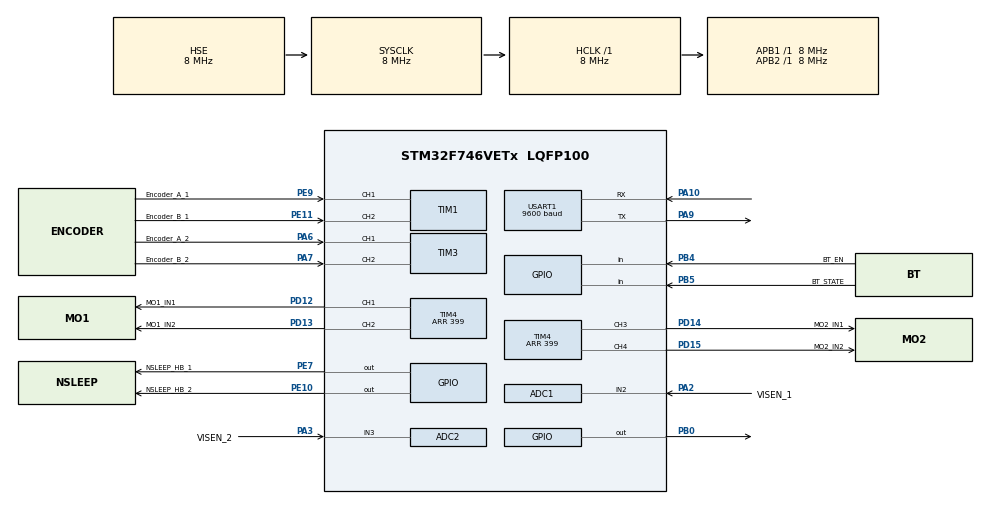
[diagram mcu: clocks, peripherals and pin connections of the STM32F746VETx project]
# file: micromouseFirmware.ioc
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ADC1.Channel-1\#ChannelRegularConversion=ADC_CHANNEL_2
ADC1.NbrOfConversionFlag=1
ADC1.Rank-1\#ChannelRegularConversion=1
ADC1.SamplingTime-1\#ChannelRegularConversion=ADC_SAMPLETIME_3CYCLES
ADC1.master=1
ADC2.Channel-0\#ChannelRegularConversion=ADC_CHANNEL_3
ADC2.NbrOfConversionFlag=1
ADC2.Rank-0\#ChannelRegularConversion=1
ADC2.SamplingTime-0\#ChannelRegularConversion=ADC_SAMPLETIME_3CYCLES
CORTEX_M7.default_mode_Activation=1
Mcu.Family=STM32F7
Mcu.Name=STM32F746VETx
Mcu.Package=LQFP100
NVIC.PriorityGroup=NVIC_PRIORITYGROUP_4
PA10.Mode=Asynchronous
PA10.Signal=USART1_RX
PA13.Mode=Serial_Wire
PA13.Signal=SYS_JTMS-SWDIO
PA14.Mode=Serial_Wire
PA14.Signal=SYS_JTCK-SWCLK
PA2.GPIO_Label=VISEN_1
PA2.Signal=ADCx_IN2
PA3.GPIO_Label=VISEN_2
PA3.Signal=ADCx_IN3
PA6.GPIO_Label=Encoder_A_2
PA6.Signal=S_TIM3_CH1
PA7.GPIO_Label=Encoder_B_2
PA7.Signal=S_TIM3_CH2
PA9.Mode=Asynchronous
PA9.Signal=USART1_TX
PB0.Signal=GPIO_Output
PB4.GPIO_Label=BT_EN
PB4.Signal=GPIO_Input
PB5.GPIO_Label=BT_STATE
PB5.Signal=GPIO_Input
PC14/OSC32_IN.Mode=LSE-External-Oscillator
PC14/OSC32_IN.Signal=RCC_OSC32_IN
PC15/OSC32_OUT.Mode=LSE-External-Oscillator
PC15/OSC32_OUT.Signal=RCC_OSC32_OUT
PD12.GPIO_Label=MO1_IN1
PD12.Signal=S_TIM4_CH1
PD13.GPIO_Label=MO1_IN2
PD13.Signal=S_TIM4_CH2
PD14.GPIO_Label=MO2_IN1
PD14.Signal=S_TIM4_CH3
PD15.GPIO_Label=MO2_IN2
PD15.Signal=S_TIM4_CH4
PE10.GPIO_Label=NSLEEP_HB_2
PE10.Signal=GPIO_Output
PE11.GPIO_Label=Encoder_B_1
PE11.Signal=S_TIM1_CH2
PE7.GPIO_Label=NSLEEP_HB_1
PE7.Signal=GPIO_Output
PE9.GPIO_Label=Encoder_A_1
PE9.Signal=S_TIM1_CH1
PH0/OSC_IN.Mode=HSE-External-Oscillator
PH0/OSC_IN.Signal=RCC_OSC_IN
PH1/OSC_OUT.Mode=HSE-External-Oscillator
PH1/OSC_OUT.Signal=RCC_OSC_OUT
ProjectManager.HeapSize=0x200
ProjectManager.StackSize=0x400
ProjectManager.TargetToolchain=STM32CubeIDE
RCC.AHBFreq_Value=8000000
RCC.APB1Freq_Value=8000000
RCC.APB1TimFreq_Value=8000000
RCC.APB2Freq_Value=8000000
RCC.APB2TimFreq_Value=8000000
RCC.CSICalibrationValue=32
RCC.CortexFreq_Value=8000000
RCC.DATA_CACHE_ENABLE=1
RCC.HCLKFreq_Value=8000000
RCC.HSE_VALUE=8000000
RCC.HSI_VALUE=16000000
RCC.INSTRUCTION_CACHE_ENABLE=1
RCC.LSE_Drive_CapabilityArg=RCC_LSEDRIVE_LOW
RCC.MSIAutoCalibration=ENABLED
RCC.MSICalibrationValue=0
RCC.PLL1_VCI_Range=RCC_PLL1VCIRANGE_3
RCC.PLL1_VCO_SEL=RCC_PLL1VCOWIDE
RCC.PLL2FRACN=0
RCC.PLL2_VCI_Range=RCC_PLL2VCIRANGE_3
RCC.PLL2_VCO_SEL=RCC_PLL2VCOWIDE
RCC.PLL3FRACN=0
RCC.PLL3_VCI_Range=RCC_PLL3VCIRANGE_3
RCC.PLL3_VCO_SEL=RCC_PLL3VCOWIDE
RCC.PLLFRACN=0
RCC.PLLSourceVirtual=RCC_PLLSOURCE_HSE
RCC.PREFETCH_ENABLE=0
RCC.ProductRev=revV
RCC.SYSCLKFreq_VALUE=8000000
RCC.SYSCLKSource=RCC_SYSCLKSOURCE_HSE
RCC.USBFreq_Value=48000000
RCC.VCOOutputFreq_Value=96000000
SH.ADCx_IN2.0=ADC1_IN2,IN2
SH.ADCx_IN3.0=ADC2_IN3,IN3
SH.S_TIM1_CH1.0=TIM1_CH1,Encoder_Interface
SH.S_TIM1_CH2.0=TIM1_CH2,Encoder_Interface
SH.S_TIM3_CH1.0=TIM3_CH1,Encoder_Interface
SH.S_TIM3_CH2.0=TIM3_CH2,Encoder_Interface
SH.S_TIM4_CH1.0=TIM4_CH1,PWM Generation1 CH1
SH.S_TIM4_CH2.0=TIM4_CH2,PWM Generation2 CH2
SH.S_TIM4_CH3.0=TIM4_CH3,PWM Generation3 CH3
SH.S_TIM4_CH4.0=TIM4_CH4,PWM Generation4 CH4
TIM1.EncoderMode=TIM_ENCODERMODE_TI12
TIM1.IC1Filter=8
TIM1.IC2Filter=8
TIM3.EncoderMode=TIM_ENCODERMODE_TI12
TIM3.IC1Filter=8
TIM3.IC2Filter=8
TIM4.AutoReloadPreload=TIM_AUTORELOAD_PRELOAD_ENABLE
TIM4.Channel-PWM\ Generation1\ CH1=TIM_CHANNEL_1
TIM4.Channel-PWM\ Generation2\ CH2=TIM_CHANNEL_2
TIM4.Channel-PWM\ Generation3\ CH3=TIM_CHANNEL_3
TIM4.Channel-PWM\ Generation4\ CH4=TIM_CHANNEL_4
TIM4.Period=399
USART1.BaudRate=9600
USART1.VirtualMode-Asynchronous=VM_ASYNC
VP_TIM4_VS_ClockSourceINT.Mode=Internal
board=custom

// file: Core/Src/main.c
/* USER CODE BEGIN Header */
/**
  ******************************************************************************
  * @file           : main.c
  * @brief          : Main program body
  ******************************************************************************
  * @attention
  *
  * Copyright (c) 2026 STMicroelectronics.
  * All rights reserved.
  *
  * This software is licensed under terms that can be found in the LICENSE file
  * in the root directory of this software component.
  * If no LICENSE file comes with this software, it is provided AS-IS.
  *
  ******************************************************************************
  */
/* USER CODE END Header */
#include "main.h"

/* USER CODE BEGIN Includes */
#include <stdio.h>
/* USER CODE END Includes */

/* USER CODE BEGIN PD */
/* Motor input pins -> TIM4 channels */
#define MO1_IN1   TIM_CHANNEL_1   // PD12  TIM4_CH1  Motor 1 (U3, J8)
#define MO1_IN2   TIM_CHANNEL_2   // PD13  TIM4_CH2
#define MO2_IN1   TIM_CHANNEL_3   // PD14  TIM4_CH3  Motor 2 (U2, J7)
#define MO2_IN2   TIM_CHANNEL_4   // PD15  TIM4_CH4
#define MOTOR_TEST_DUTY_PERCENT  50U
/* USER CODE END PD */

ADC_HandleTypeDef hadc1;
ADC_HandleTypeDef hadc2;

TIM_HandleTypeDef htim1;
TIM_HandleTypeDef htim3;
TIM_HandleTypeDef htim4;

UART_HandleTypeDef huart1;

void SystemClock_Config(void);
static void MPU_Config(void);
static void MX_GPIO_Init(void);
static void MX_ADC1_Init(void);
static void MX_TIM1_Init(void);
static void MX_TIM3_Init(void);
static void MX_TIM4_Init(void);
static void MX_ADC2_Init(void);
static void MX_USART1_UART_Init(void);
/* USER CODE BEGIN PFP */
static void Motors_Stop(void);
static void Motors_Forward(uint32_t duty);
static void Motors_Backward(uint32_t duty);
/* USER CODE END PFP */

/* USER CODE BEGIN 0 */
static void Motors_Stop(void)
{
  __HAL_TIM_SET_COMPARE(&htim4, MO1_IN1, 0U);
  __HAL_TIM_SET_COMPARE(&htim4, MO1_IN2, 0U);
  __HAL_TIM_SET_COMPARE(&htim4, MO2_IN1, 0U);
  __HAL_TIM_SET_COMPARE(&htim4, MO2_IN2, 0U);

  HAL_GPIO_WritePin(NSLEEP_HB_1_GPIO_Port, NSLEEP_HB_1_Pin, GPIO_PIN_RESET);
  HAL_GPIO_WritePin(NSLEEP_HB_2_GPIO_Port, NSLEEP_HB_2_Pin, GPIO_PIN_RESET);
  HAL_GPIO_WritePin(GPIOB, GPIO_PIN_0, GPIO_PIN_RESET);
}

static void Motors_Forward(uint32_t duty)
{
  Motors_Stop();
  HAL_Delay(10);

  __HAL_TIM_SET_COMPARE(&htim4, MO1_IN1, duty);
  __HAL_TIM_SET_COMPARE(&htim4, MO1_IN2, 0U);
  __HAL_TIM_SET_COMPARE(&htim4, MO2_IN1, duty);
  __HAL_TIM_SET_COMPARE(&htim4, MO2_IN2, 0U);

  HAL_GPIO_WritePin(NSLEEP_HB_1_GPIO_Port, NSLEEP_HB_1_Pin, GPIO_PIN_SET);
  HAL_GPIO_WritePin(NSLEEP_HB_2_GPIO_Port, NSLEEP_HB_2_Pin, GPIO_PIN_SET);
  HAL_GPIO_WritePin(GPIOB, GPIO_PIN_0, GPIO_PIN_SET);
}

static void Motors_Backward(uint32_t duty)
{
  Motors_Stop();
  HAL_Delay(10);

  __HAL_TIM_SET_COMPARE(&htim4, MO1_IN1, 0U);
  __HAL_TIM_SET_COMPARE(&htim4, MO1_IN2, duty);
  __HAL_TIM_SET_COMPARE(&htim4, MO2_IN1, 0U);
  __HAL_TIM_SET_COMPARE(&htim4, MO2_IN2, duty);

  HAL_GPIO_WritePin(NSLEEP_HB_1_GPIO_Port, NSLEEP_HB_1_Pin, GPIO_PIN_SET);
  HAL_GPIO_WritePin(NSLEEP_HB_2_GPIO_Port, NSLEEP_HB_2_Pin, GPIO_PIN_SET);
  HAL_GPIO_WritePin(GPIOB, GPIO_PIN_0, GPIO_PIN_SET);
}

/* USER CODE END 0 */

int main(void)
{

  /* USER CODE BEGIN 1 */
#if 0
  /* Previous Bluetooth counter-transmit test. */
  uint32_t counter = 0;
  char message[32];
#endif

  uint8_t received_byte = 0;
#if 0
  /* Previous Bluetooth LED-control test responses. */
  static const uint8_t led_on_message[] = "LED ON\r\n";
  static const uint8_t led_off_message[] = "LED OFF\r\n";
#endif
  static const uint8_t forward_message[] = "FORWARD\r\n";
  static const uint8_t backward_message[] = "BACKWARD\r\n";
  static const uint8_t stop_message[] = "STOP\r\n";
  uint32_t motor_duty = 0U;
  /* USER CODE END 1 */

  /* MPU Configuration--------------------------------------------------------*/
  MPU_Config();

  /* MCU Configuration--------------------------------------------------------*/

  /* Reset of all peripherals, Initializes the Flash interface and the Systick. */
  HAL_Init();

  /* Configure the system clock */
  SystemClock_Config();

  /* Initialize all configured peripherals */
  MX_GPIO_Init();
  MX_ADC1_Init();
  MX_TIM1_Init();
  MX_TIM3_Init();
  MX_TIM4_Init();
  MX_ADC2_Init();
  MX_USART1_UART_Init();
  /* USER CODE BEGIN 2 */
  /* Keep both motor drivers asleep during the Bluetooth-only test. */
  HAL_GPIO_WritePin(NSLEEP_HB_1_GPIO_Port, NSLEEP_HB_1_Pin, GPIO_PIN_RESET);
  HAL_GPIO_WritePin(NSLEEP_HB_2_GPIO_Port, NSLEEP_HB_2_Pin, GPIO_PIN_RESET);

  /* Motor test intentionally disabled to prevent motor current draw. */
#if 0
  uint32_t full = __HAL_TIM_GET_AUTORELOAD(&htim4) + 1;

  HAL_TIM_PWM_Start(&htim4, MO1_IN1);
  HAL_TIM_PWM_Start(&htim4, MO1_IN2);
  HAL_TIM_PWM_Start(&htim4, MO2_IN1);
  HAL_TIM_PWM_Start(&htim4, MO2_IN2);

  __HAL_TIM_SET_COMPARE(&htim4, MO1_IN1, full);
  __HAL_TIM_SET_COMPARE(&htim4, MO1_IN2, 0);
  __HAL_TIM_SET_COMPARE(&htim4, MO2_IN1, full);
  __HAL_TIM_SET_COMPARE(&htim4, MO2_IN2, 0);

  HAL_GPIO_WritePin(NSLEEP_HB_1_GPIO_Port, NSLEEP_HB_1_Pin, GPIO_PIN_SET);
  HAL_GPIO_WritePin(NSLEEP_HB_2_GPIO_Port, NSLEEP_HB_2_Pin, GPIO_PIN_SET);
#endif

  /* Start PWM with every input at 0% duty, then keep both drivers asleep. */
  if (HAL_TIM_PWM_Start(&htim4, MO1_IN1) != HAL_OK ||
      HAL_TIM_PWM_Start(&htim4, MO1_IN2) != HAL_OK ||
      HAL_TIM_PWM_Start(&htim4, MO2_IN1) != HAL_OK ||
      HAL_TIM_PWM_Start(&htim4, MO2_IN2) != HAL_OK)
  {
    Error_Handler();
  }

  motor_duty = ((__HAL_TIM_GET_AUTORELOAD(&htim4) + 1U) *
                MOTOR_TEST_DUTY_PERCENT) / 100U;
  Motors_Stop();
  /* USER CODE END 2 */

  /* Infinite loop */
  while (1)
  {

    /* USER CODE BEGIN 3 */
#if 0
    /* Previous Bluetooth counter-transmit test. */
    int length = snprintf(message, sizeof(message), "%lu\r\n",
                          (unsigned long)counter++);

    if (length > 0)
    {
      HAL_UART_Transmit(&huart1, (uint8_t *)message, (uint16_t)length, 100);
    }

    HAL_GPIO_TogglePin(GPIOB, GPIO_PIN_0);   // heartbeat LED
    HAL_Delay(1000);                         // send one number per second
#endif

#if 0
    /* Previous Bluetooth LED-control test. */
    if (HAL_UART_Receive(&huart1, &received_byte, 1, 100) == HAL_OK)
    {
      if (received_byte == '1')
      {
        HAL_GPIO_WritePin(GPIOB, GPIO_PIN_0, GPIO_PIN_SET);
        HAL_UART_Transmit(&huart1, (uint8_t *)led_on_message,
                          sizeof(led_on_message) - 1U, 100);
      }
      else if (received_byte == '0')
      {
        HAL_GPIO_WritePin(GPIOB, GPIO_PIN_0, GPIO_PIN_RESET);
        HAL_UART_Transmit(&huart1, (uint8_t *)led_off_message,
                          sizeof(led_off_message) - 1U, 100);
      }
      /* Other characters, including carriage return/newline, are ignored. */
    }
#endif

    /* Receive one Bluetooth command; the timeout keeps the main loop responsive. */
    if (HAL_UART_Receive(&huart1, &received_byte, 1, 100) == HAL_OK)
    {
      if (received_byte == 'f' || received_byte == 'F')
      {
        Motors_Forward(motor_duty);
        HAL_UART_Transmit(&huart1, (uint8_t *)forward_message,
                          sizeof(forward_message) - 1U, 100);
      }
      else if (received_byte == 'b' || received_byte == 'B')
      {
        Motors_Backward(motor_duty);
        HAL_UART_Transmit(&huart1, (uint8_t *)backward_message,
                          sizeof(backward_message) - 1U, 100);
      }
      else if (received_byte == 's' || received_byte == 'S')
      {
        Motors_Stop();
        HAL_UART_Transmit(&huart1, (uint8_t *)stop_message,
                          sizeof(stop_message) - 1U, 100);
      }
      /* Carriage return, newline, and other characters are ignored. */
    }
  }
  /* USER CODE END 3 */
}

void SystemClock_Config(void)
{
  RCC_OscInitTypeDef RCC_OscInitStruct = {0};
  RCC_ClkInitTypeDef RCC_ClkInitStruct = {0};

  /** Configure LSE Drive Capability
  */
  HAL_PWR_EnableBkUpAccess();

  /** Configure the main internal regulator output voltage
  */
  __HAL_RCC_PWR_CLK_ENABLE();
  __HAL_PWR_VOLTAGESCALING_CONFIG(PWR_REGULATOR_VOLTAGE_SCALE3);

  /** Initializes the RCC Oscillators according to the specified parameters
  * in the RCC_OscInitTypeDef structure.
  */
  RCC_OscInitStruct.OscillatorType = RCC_OSCILLATORTYPE_HSE;
  RCC_OscInitStruct.HSEState = RCC_HSE_ON;
  RCC_OscInitStruct.PLL.PLLState = RCC_PLL_NONE;
  if (HAL_RCC_OscConfig(&RCC_OscInitStruct) != HAL_OK)
  {
    Error_Handler();
  }

  /** Initializes the CPU, AHB and APB buses clocks
  */
  RCC_ClkInitStruct.ClockType = RCC_CLOCKTYPE_HCLK|RCC_CLOCKTYPE_SYSCLK
                              |RCC_CLOCKTYPE_PCLK1|RCC_CLOCKTYPE_PCLK2;
  RCC_ClkInitStruct.SYSCLKSource = RCC_SYSCLKSOURCE_HSE;
  RCC_ClkInitStruct.AHBCLKDivider = RCC_SYSCLK_DIV1;
  RCC_ClkInitStruct.APB1CLKDivider = RCC_HCLK_DIV1;
  RCC_ClkInitStruct.APB2CLKDivider = RCC_HCLK_DIV1;

  if (HAL_RCC_ClockConfig(&RCC_ClkInitStruct, FLASH_LATENCY_0) != HAL_OK)
  {
    Error_Handler();
  }
}

static void MX_ADC1_Init(void)
{

  ADC_ChannelConfTypeDef sConfig = {0};

  /** Configure the global features of the ADC (Clock, Resolution, Data Alignment and number of conversion)
  */
  hadc1.Instance = ADC1;
  hadc1.Init.ClockPrescaler = ADC_CLOCK_SYNC_PCLK_DIV2;
  hadc1.Init.Resolution = ADC_RESOLUTION_12B;
  hadc1.Init.ScanConvMode = ADC_SCAN_DISABLE;
  hadc1.Init.ContinuousConvMode = DISABLE;
  hadc1.Init.DiscontinuousConvMode = DISABLE;
  hadc1.Init.ExternalTrigConvEdge = ADC_EXTERNALTRIGCONVEDGE_NONE;
  hadc1.Init.ExternalTrigConv = ADC_SOFTWARE_START;
  hadc1.Init.DataAlign = ADC_DATAALIGN_RIGHT;
  hadc1.Init.NbrOfConversion = 1;
  hadc1.Init.DMAContinuousRequests = DISABLE;
  hadc1.Init.EOCSelection = ADC_EOC_SINGLE_CONV;
  if (HAL_ADC_Init(&hadc1) != HAL_OK)
  {
    Error_Handler();
  }

  /** Configure for the selected ADC regular channel its corresponding rank in the sequencer and its sample time.
  */
  sConfig.Channel = ADC_CHANNEL_2;
  sConfig.Rank = ADC_REGULAR_RANK_1;
  sConfig.SamplingTime = ADC_SAMPLETIME_3CYCLES;
  if (HAL_ADC_ConfigChannel(&hadc1, &sConfig) != HAL_OK)
  {
    Error_Handler();
  }

}

static void MX_ADC2_Init(void)
{

  ADC_ChannelConfTypeDef sConfig = {0};

  /** Configure the global features of the ADC (Clock, Resolution, Data Alignment and number of conversion)
  */
  hadc2.Instance = ADC2;
  hadc2.Init.ClockPrescaler = ADC_CLOCK_SYNC_PCLK_DIV2;
  hadc2.Init.Resolution = ADC_RESOLUTION_12B;
  hadc2.Init.ScanConvMode = ADC_SCAN_DISABLE;
  hadc2.Init.ContinuousConvMode = DISABLE;
  hadc2.Init.DiscontinuousConvMode = DISABLE;
  hadc2.Init.ExternalTrigConvEdge = ADC_EXTERNALTRIGCONVEDGE_NONE;
  hadc2.Init.ExternalTrigConv = ADC_SOFTWARE_START;
  hadc2.Init.DataAlign = ADC_DATAALIGN_RIGHT;
  hadc2.Init.NbrOfConversion = 1;
  hadc2.Init.DMAContinuousRequests = DISABLE;
  hadc2.Init.EOCSelection = ADC_EOC_SINGLE_CONV;
  if (HAL_ADC_Init(&hadc2) != HAL_OK)
  {
    Error_Handler();
  }

  /** Configure for the selected ADC regular channel its corresponding rank in the sequencer and its sample time.
  */
  sConfig.Channel = ADC_CHANNEL_3;
  sConfig.Rank = ADC_REGULAR_RANK_1;
  sConfig.SamplingTime = ADC_SAMPLETIME_3CYCLES;
  if (HAL_ADC_ConfigChannel(&hadc2, &sConfig) != HAL_OK)
  {
    Error_Handler();
  }

}

static void MX_TIM1_Init(void)
{

  TIM_Encoder_InitTypeDef sConfig = {0};
  TIM_MasterConfigTypeDef sMasterConfig = {0};

  htim1.Instance = TIM1;
  htim1.Init.Prescaler = 0;
  htim1.Init.CounterMode = TIM_COUNTERMODE_UP;
  htim1.Init.Period = 65535;
  htim1.Init.ClockDivision = TIM_CLOCKDIVISION_DIV1;
  htim1.Init.RepetitionCounter = 0;
  htim1.Init.AutoReloadPreload = TIM_AUTORELOAD_PRELOAD_DISABLE;
  sConfig.EncoderMode = TIM_ENCODERMODE_TI12;
  sConfig.IC1Polarity = TIM_ICPOLARITY_RISING;
  sConfig.IC1Selection = TIM_ICSELECTION_DIRECTTI;
  sConfig.IC1Prescaler = TIM_ICPSC_DIV1;
  sConfig.IC1Filter = 8;
  sConfig.IC2Polarity = TIM_ICPOLARITY_RISING;
  sConfig.IC2Selection = TIM_ICSELECTION_DIRECTTI;
  sConfig.IC2Prescaler = TIM_ICPSC_DIV1;
  sConfig.IC2Filter = 8;
  if (HAL_TIM_Encoder_Init(&htim1, &sConfig) != HAL_OK)
  {
    Error_Handler();
  }
  sMasterConfig.MasterOutputTrigger = TIM_TRGO_RESET;
  sMasterConfig.MasterOutputTrigger2 = TIM_TRGO2_RESET;
  sMasterConfig.MasterSlaveMode = TIM_MASTERSLAVEMODE_DISABLE;
  if (HAL_TIMEx_MasterConfigSynchronization(&htim1, &sMasterConfig) != HAL_OK)
  {
    Error_Handler();
  }

}

static void MX_TIM3_Init(void)
{

  TIM_Encoder_InitTypeDef sConfig = {0};
  TIM_MasterConfigTypeDef sMasterConfig = {0};

  htim3.Instance = TIM3;
  htim3.Init.Prescaler = 0;
  htim3.Init.CounterMode = TIM_COUNTERMODE_UP;
  htim3.Init.Period = 65535;
  htim3.Init.ClockDivision = TIM_CLOCKDIVISION_DIV1;
  htim3.Init.AutoReloadPreload = TIM_AUTORELOAD_PRELOAD_DISABLE;
  sConfig.EncoderMode = TIM_ENCODERMODE_TI12;
  sConfig.IC1Polarity = TIM_ICPOLARITY_RISING;
  sConfig.IC1Selection = TIM_ICSELECTION_DIRECTTI;
  sConfig.IC1Prescaler = TIM_ICPSC_DIV1;
  sConfig.IC1Filter = 8;
  sConfig.IC2Polarity = TIM_ICPOLARITY_RISING;
  sConfig.IC2Selection = TIM_ICSELECTION_DIRECTTI;
  sConfig.IC2Prescaler = TIM_ICPSC_DIV1;
  sConfig.IC2Filter = 8;
  if (HAL_TIM_Encoder_Init(&htim3, &sConfig) != HAL_OK)
  {
    Error_Handler();
  }
  sMasterConfig.MasterOutputTrigger = TIM_TRGO_RESET;
  sMasterConfig.MasterSlaveMode = TIM_MASTERSLAVEMODE_DISABLE;
  if (HAL_TIMEx_MasterConfigSynchronization(&htim3, &sMasterConfig) != HAL_OK)
  {
    Error_Handler();
  }

}

static void MX_TIM4_Init(void)
{

  TIM_ClockConfigTypeDef sClockSourceConfig = {0};
  TIM_MasterConfigTypeDef sMasterConfig = {0};
  TIM_OC_InitTypeDef sConfigOC = {0};

  htim4.Instance = TIM4;
  htim4.Init.Prescaler = 0;
  htim4.Init.CounterMode = TIM_COUNTERMODE_UP;
  htim4.Init.Period = 399;
  htim4.Init.ClockDivision = TIM_CLOCKDIVISION_DIV1;
  htim4.Init.AutoReloadPreload = TIM_AUTORELOAD_PRELOAD_ENABLE;
  if (HAL_TIM_Base_Init(&htim4) != HAL_OK)
  {
    Error_Handler();
  }
  sClockSourceConfig.ClockSource = TIM_CLOCKSOURCE_INTERNAL;
  if (HAL_TIM_ConfigClockSource(&htim4, &sClockSourceConfig) != HAL_OK)
  {
    Error_Handler();
  }
  if (HAL_TIM_PWM_Init(&htim4) != HAL_OK)
  {
    Error_Handler();
  }
  sMasterConfig.MasterOutputTrigger = TIM_TRGO_RESET;
  sMasterConfig.MasterSlaveMode = TIM_MASTERSLAVEMODE_DISABLE;
  if (HAL_TIMEx_MasterConfigSynchronization(&htim4, &sMasterConfig) != HAL_OK)
  {
    Error_Handler();
  }
  sConfigOC.OCMode = TIM_OCMODE_PWM1;
  sConfigOC.Pulse = 0;
  sConfigOC.OCPolarity = TIM_OCPOLARITY_HIGH;
  sConfigOC.OCFastMode = TIM_OCFAST_DISABLE;
  if (HAL_TIM_PWM_ConfigChannel(&htim4, &sConfigOC, TIM_CHANNEL_1) != HAL_OK)
  {
    Error_Handler();
  }
  if (HAL_TIM_PWM_ConfigChannel(&htim4, &sConfigOC, TIM_CHANNEL_2) != HAL_OK)
  {
    Error_Handler();
  }
  if (HAL_TIM_PWM_ConfigChannel(&htim4, &sConfigOC, TIM_CHANNEL_3) != HAL_OK)
  {
    Error_Handler();
  }
  if (HAL_TIM_PWM_ConfigChannel(&htim4, &sConfigOC, TIM_CHANNEL_4) != HAL_OK)
  {
    Error_Handler();
  }
  HAL_TIM_MspPostInit(&htim4);

}

static void MX_USART1_UART_Init(void)
{

  huart1.Instance = USART1;
  huart1.Init.BaudRate = 9600;
  huart1.Init.WordLength = UART_WORDLENGTH_8B;
  huart1.Init.StopBits = UART_STOPBITS_1;
  huart1.Init.Parity = UART_PARITY_NONE;
  huart1.Init.Mode = UART_MODE_TX_RX;
  huart1.Init.HwFlowCtl = UART_HWCONTROL_NONE;
  huart1.Init.OverSampling = UART_OVERSAMPLING_16;
  huart1.Init.OneBitSampling = UART_ONE_BIT_SAMPLE_DISABLE;
  huart1.AdvancedInit.AdvFeatureInit = UART_ADVFEATURE_NO_INIT;
  if (HAL_UART_Init(&huart1) != HAL_OK)
  {
    Error_Handler();
  }

}

static void MX_GPIO_Init(void)
{
  GPIO_InitTypeDef GPIO_InitStruct = {0};

  /* GPIO Ports Clock Enable */
  __HAL_RCC_GPIOC_CLK_ENABLE();
  __HAL_RCC_GPIOH_CLK_ENABLE();
  __HAL_RCC_GPIOA_CLK_ENABLE();
  __HAL_RCC_GPIOB_CLK_ENABLE();
  __HAL_RCC_GPIOE_CLK_ENABLE();
  __HAL_RCC_GPIOD_CLK_ENABLE();

  /*Configure GPIO pin Output Level */
  HAL_GPIO_WritePin(GPIOB, GPIO_PIN_0, GPIO_PIN_RESET);

  /*Configure GPIO pin Output Level */
  HAL_GPIO_WritePin(GPIOE, NSLEEP_HB_1_Pin|NSLEEP_HB_2_Pin, GPIO_PIN_RESET);

  /*Configure GPIO pin : PB0 */
  GPIO_InitStruct.Pin = GPIO_PIN_0;
  GPIO_InitStruct.Mode = GPIO_MODE_OUTPUT_PP;
  GPIO_InitStruct.Pull = GPIO_NOPULL;
  GPIO_InitStruct.Speed = GPIO_SPEED_FREQ_LOW;
  HAL_GPIO_Init(GPIOB, &GPIO_InitStruct);

  /*Configure GPIO pins : NSLEEP_HB_1_Pin NSLEEP_HB_2_Pin */
  GPIO_InitStruct.Pin = NSLEEP_HB_1_Pin|NSLEEP_HB_2_Pin;
  GPIO_InitStruct.Mode = GPIO_MODE_OUTPUT_PP;
  GPIO_InitStruct.Pull = GPIO_NOPULL;
  GPIO_InitStruct.Speed = GPIO_SPEED_FREQ_LOW;
  HAL_GPIO_Init(GPIOE, &GPIO_InitStruct);

  /*Configure GPIO pins : BT_EN_Pin BT_STATE_Pin */
  GPIO_InitStruct.Pin = BT_EN_Pin|BT_STATE_Pin;
  GPIO_InitStruct.Mode = GPIO_MODE_INPUT;
  GPIO_InitStruct.Pull = GPIO_NOPULL;
  HAL_GPIO_Init(GPIOB, &GPIO_InitStruct);

}

 /* MPU Configuration */

void MPU_Config(void)
{
  MPU_Region_InitTypeDef MPU_InitStruct = {0};

  /* Disables the MPU */
  HAL_MPU_Disable();

  /** Initializes and configures the Region and the memory to be protected
  */
  MPU_InitStruct.Enable = MPU_REGION_ENABLE;
  MPU_InitStruct.Number = MPU_REGION_NUMBER0;
  MPU_InitStruct.BaseAddress = 0x0;
  MPU_InitStruct.Size = MPU_REGION_SIZE_4GB;
  MPU_InitStruct.SubRegionDisable = 0x87;
  MPU_InitStruct.TypeExtField = MPU_TEX_LEVEL0;
  MPU_InitStruct.AccessPermission = MPU_REGION_NO_ACCESS;
  MPU_InitStruct.DisableExec = MPU_INSTRUCTION_ACCESS_DISABLE;
  MPU_InitStruct.IsShareable = MPU_ACCESS_SHAREABLE;
  MPU_InitStruct.IsCacheable = MPU_ACCESS_NOT_CACHEABLE;
  MPU_InitStruct.IsBufferable = MPU_ACCESS_NOT_BUFFERABLE;

  HAL_MPU_ConfigRegion(&MPU_InitStruct);
  /* Enables the MPU */
  HAL_MPU_Enable(MPU_PRIVILEGED_DEFAULT);

}

void Error_Handler(void)
{
  __disable_irq();
  while (1)
  {
  }
}
